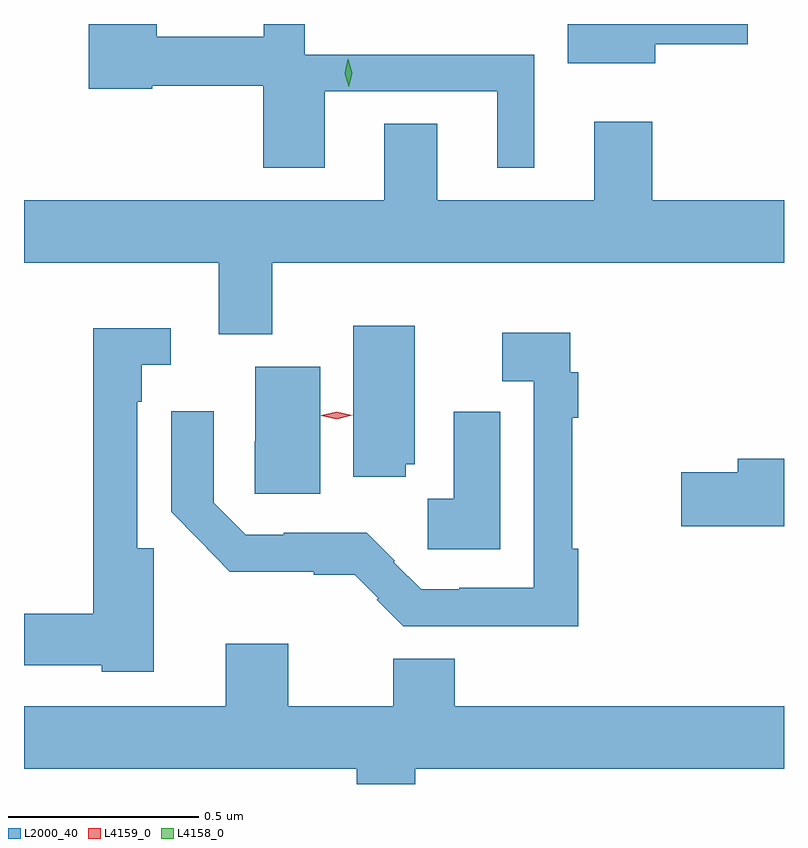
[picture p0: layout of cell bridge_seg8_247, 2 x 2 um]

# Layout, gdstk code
import gdstk
lib = gdstk.Library(unit=1e-6, precision=1e-09)
def P(c, l, *ps):  # polygons
    for p in ps: c.add(gdstk.Polygon(p, *l))
L2000_40 = (2000, 40)
L4158_0 = (4158, 0)
L4159_0 = (4159, 0)

bridge_seg8_247 = lib.new_cell('bridge_seg8_247')
P(bridge_seg8_247, L2000_40, [(282.946,1091.643),(283.4,1091.643),(283.4,1091.442),(283.498,1091.442),(283.498,1091.739),(282.894,1091.739),(282.894,1091.82),(282.786,1091.82),(282.786,1091.786),(282.504,1091.786),(282.504,1091.82),(282.326,1091.82),(282.326,1091.65),(282.492,1091.65),(282.492,1091.658),(282.785,1091.658),(282.785,1091.442),(282.946,1091.442)],
  [(283.816,1091.767),(284.059,1091.767),(284.059,1091.82),(283.586,1091.82),(283.586,1091.717),(283.816,1091.717)],
  [(282.808,1091.192),(284.155,1091.192),(284.155,1091.356),(283.808,1091.356),(283.808,1091.563),(283.655,1091.563),(283.655,1091.356),(283.243,1091.356),(283.243,1091.558),(283.103,1091.558),(283.103,1091.356),(282.155,1091.356),(282.155,1091.192),(282.668,1091.192),(282.668,1091.003),(282.808,1091.003)],
  [(283.159,1090.662),(283.183,1090.662),(283.183,1091.026),(283.022,1091.026),(283.022,1090.628),(283.159,1090.628)],
  [(282.496,1090.44),(282.453,1090.44),(282.453,1090.826),(282.465,1090.826),(282.465,1090.923),(282.541,1090.923),(282.541,1091.02),(282.337,1091.02),(282.337,1090.268),(282.155,1090.268),(282.155,1090.133),(282.36,1090.133),(282.36,1090.115),(282.496,1090.115)],
  [(283.613,1090.439),(283.598,1090.439),(283.598,1090.784),(283.613,1090.784),(283.613,1090.904),(283.593,1090.904),(283.593,1091.008),(283.414,1091.008),(283.414,1090.88),(283.497,1090.88),(283.497,1090.336),(283.3,1090.336),(283.3,1090.332),(283.2,1090.332),(283.128,1090.404),(283.131,1090.407),(283.057,1090.481),(282.838,1090.481),(282.838,1090.476),(282.738,1090.476),(282.654,1090.56),(282.654,1090.801),(282.542,1090.801),(282.542,1090.536),(282.616,1090.462),(282.616,1090.461),(282.697,1090.379),(282.917,1090.379),(282.917,1090.371),(283.025,1090.371),(283.087,1090.309),(283.083,1090.305),(283.153,1090.235),(283.613,1090.235)],
  [(282.934,1090.918),(282.764,1090.918),(282.764,1090.722),(282.762,1090.722),(282.762,1090.584),(282.934,1090.584)],
  [(283.408,1090.799),(283.286,1090.799),(283.286,1090.571),(283.218,1090.571),(283.218,1090.438),(283.408,1090.438)],
  [(284.155,1090.676),(284.033,1090.676),(284.033,1090.64),(283.884,1090.64),(283.884,1090.498),(284.155,1090.498)],
  [(283.184,1089.86),(284.155,1089.86),(284.155,1090.024),(283.288,1090.024),(283.288,1090.15),(283.127,1090.15),(283.127,1090.024),(282.85,1090.024),(282.85,1090.189),(282.686,1090.189),(282.686,1090.024),(282.155,1090.024),(282.155,1089.86),(283.031,1089.86),(283.031,1089.82),(283.184,1089.82)])
P(bridge_seg8_247, L4158_0, [(283.01,1091.655),(283.01,1091.655),(282.999,1091.69),(283.007,1091.727),(283.007,1091.727),(283.008,1091.727),(283.019,1091.691),(283.01,1091.655)])
P(bridge_seg8_247, L4159_0, [(282.978,1090.78),(282.937,1090.789),(282.937,1090.789),(282.937,1090.79),(282.978,1090.8),(283.019,1090.791),(283.019,1090.79),(283.019,1090.79)])

lib.write_gds('bridge_seg8_247.gds')
